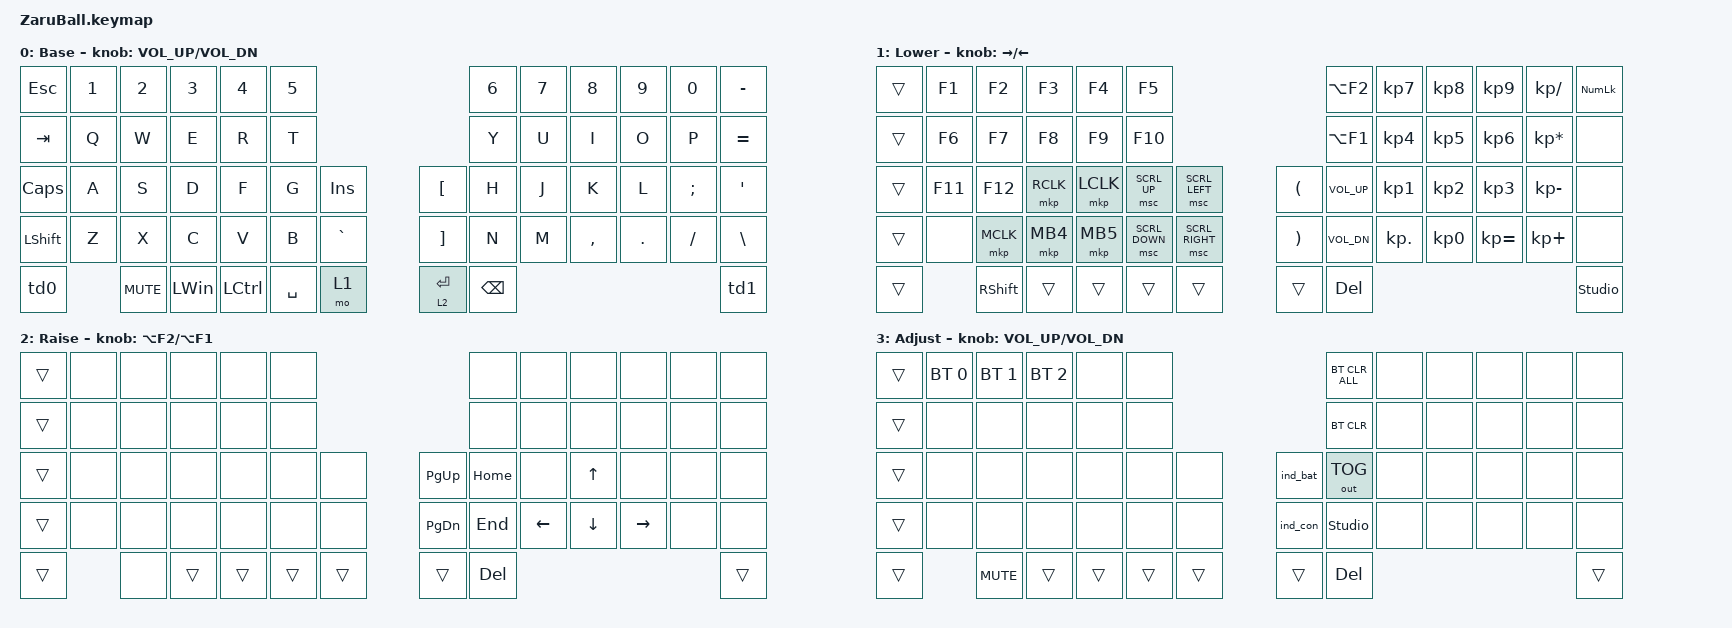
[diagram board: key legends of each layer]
#include <behaviors.dtsi>
#include <dt-bindings/zmk/keys.h>
#include <dt-bindings/zmk/bt.h>
#include <dt-bindings/zmk/outputs.h>
#include <dt-bindings/zmk/pointing.h>
//#include <dt-bindings/zmk/mouse.h>
#include <behaviors/rgbled_widget.dtsi>

&trackball_listener {
    input-processors = <//&zip_xy_transform (INPUT_TRANSFORM_XY_SWAP | INPUT_TRANSFORM_Y_INVERT | INPUT_TRANSFORM_X_INVERT)
                        &zip_temp_layer MOUSE 500>;
    scroller {
        layers = <SCROLL>;
        input-processors = <
                            &zip_xy_transform INPUT_TRANSFORM_Y_INVERT
                            &zip_xy_scaler 1 20
                            &zip_xy_to_scroll_mapper
                            >;
    };
};
/ {
    conditional_layers {
        compatible = "zmk,conditional-layers";
        tri_layer {
            if-layers = <1 2>;
            then-layer = <3>;
        };
    };
};

/ {
    behaviors {
        td0: tap_dance_0 {
            compatible = "zmk,behavior-tap-dance";
            #binding-cells = <0>;
            tapping-term-ms = <200>;
            bindings = <&mt LALT LANG2>, <&mo 2>, <&mo 4>;
        };

        td1: tap_dance_1 {
            compatible = "zmk,behavior-tap-dance";
            #binding-cells = <0>;
            tapping-term-ms = <200>;
            bindings = <&mt RCTL LANG1>, <&mo 2>, <&mo 5>;
        };
    };

    keymap {
        compatible = "zmk,keymap";

        base_layer { // Layer 0
            display-name = "Base";
            sensor-bindings = <&inc_dec_kp C_VOL_UP C_VOL_DN>;
            
            bindings = <
                &kp ESC   &kp N1    &kp N2     &kp N3    &kp N4    &kp N5                                  &kp N6    &kp N7    &kp N8    &kp N9    &kp N0    &kp MINUS
                &kp TAB   &kp Q     &kp W      &kp E     &kp R     &kp T                                   &kp Y     &kp U     &kp I     &kp O     &kp P     &kp EQUAL
                &kp CAPS  &kp A     &kp S      &kp D     &kp F     &kp G     &kp INS             &kp LBKT  &kp H     &kp J     &kp K     &kp L     &kp SEMI  &kp SQT
                &kp LSHFT &kp Z     &kp X      &kp C     &kp V     &kp B     &kp GRAVE           &kp RBKT  &kp N     &kp M     &kp COMMA &kp DOT   &kp FSLH  &kp BSLH
                &td0                &kp C_MUTE &kp LWIN  &kp LCTL  &kp SPACE &mo 1               &lt 2 RET &kp BSPC                                          &td1
            >;
        };

        lower_layer { // Layer 1
            display-name = "Lower";
            sensor-bindings = <&inc_dec_kp RIGHT LEFT>;
            
            bindings = <
                &trans    &kp F1    &kp F2    &kp F3    &kp F4    &kp F5                                       &kp LA(F2)   &kp KP_N7  &kp KP_N8 &kp KP_N9    &kp KP_SLASH    &kp KP_NUMLOCK
                &trans    &kp F6    &kp F7    &kp F8    &kp F9    &kp F10                                      &kp LA(F1)   &kp KP_N4  &kp KP_N5 &kp KP_N6    &kp KP_MULTIPLY &none
                &trans    &kp F11   &kp F12   &mkp RCLK &mkp LCLK &msc SCRL_UP   &msc SCRL_LEFT      &kp LPAR  &kp C_VOL_UP &kp KP_N1  &kp KP_N2 &kp KP_N3    &kp KP_MINUS    &none
                &trans    &none     &mkp MCLK &mkp MB4  &mkp MB5  &msc SCRL_DOWN &msc SCRL_RIGHT     &kp RPAR  &kp C_VOL_DN &kp KP_DOT &kp KP_N0 &kp KP_EQUAL &kp KP_PLUS     &none
                &trans              &kp RSHFT &trans    &trans    &trans         &trans              &trans    &kp DEL                                                        &studio_unlock
            >;
        };

        raise_layer { // Layer 2
            display-name = "Raise";
            sensor-bindings = <&inc_dec_kp LA(F2) LA(F1)>;
            
            bindings = <
                &trans    &none     &none     &none     &none     &none                                   &none     &none     &none     &none     &none     &none
                &trans    &none     &none     &none     &none     &none                                   &none     &none     &none     &none     &none     &none
                &trans    &none     &none     &none     &none     &none     &none               &kp PG_UP &kp HOME  &none     &kp UP    &none     &none     &none
                &trans    &none     &none     &none     &none     &none     &none               &kp PG_DN &kp END   &kp LEFT  &kp DOWN  &kp RIGHT &none     &none
                &trans              &none     &trans    &trans    &trans    &trans              &trans    &kp DEL                                           &trans
            >;
        };

        adjust_layer { // Layer 3
            display-name = "Adjust";
            sensor-bindings = <&inc_dec_kp C_VOL_UP C_VOL_DN>;
            
            bindings = <
                &trans    &bt BT_SEL 0 &bt BT_SEL 1 &bt BT_SEL 2 &none     &none                                   &bt BT_CLR_ALL &none     &none     &none     &none     &none
                &trans    &none        &none        &none        &none     &none                                   &bt BT_CLR     &none     &none     &none     &none     &none
                &trans    &none        &none        &none        &none     &none     &none               &ind_bat  &out OUT_TOG   &none     &none     &none     &none     &none
                &trans    &none        &none        &none        &none     &none     &none               &ind_con  &studio_unlock &none     &none     &none     &none     &none
                &trans                 &kp C_MUTE   &trans       &trans    &trans    &trans              &trans    &kp DEL                                                &trans
            >;     
        };

        extra1 { // Layer 4
            status = "reserved";
        };

        extra2 { // Layer 5
            status = "reserved";
        };
    };
 };
